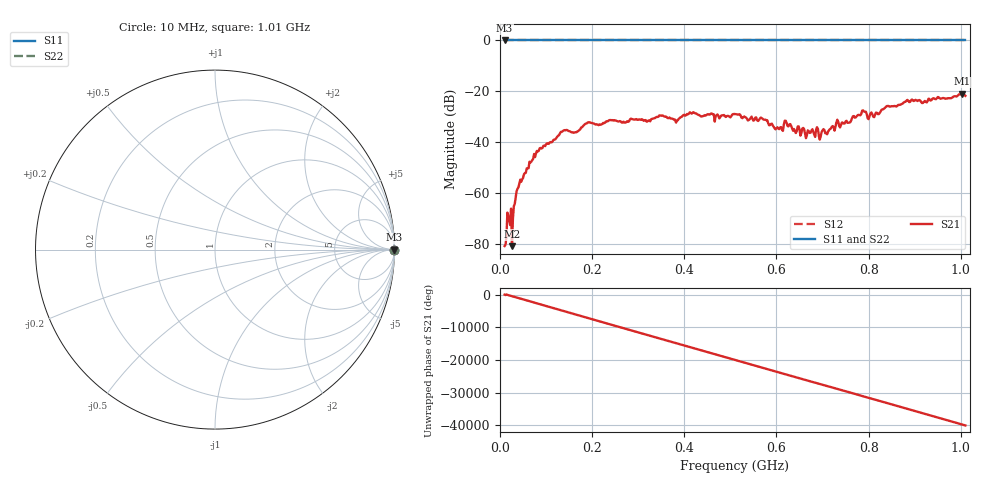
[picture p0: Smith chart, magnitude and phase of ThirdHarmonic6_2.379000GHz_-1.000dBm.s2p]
! 8/17/2025 3:46:47 AM
! C:\ANRITSUVNA\TEMP\TEMP.S2P
! CHANNEL.1
! TR.MEASUREMENT
! RAW.DATA
! RF.CORRECTION.OFF
! AVERAGING.OFF
! IF.BANDWIDTH: 5KHZ
! SWEEPTYPE:  FREQ.SWEEP(Linear)
! Reference Plane Port Info
! PORT:  PORT1  PORT2
! DISTANCE:  0  m  0  m
! TIME:  0  s  0  s
! PHASE.OFFSET:  0  deg.  0  deg.
! LOSS:  0  dB  0  dB
! REF.LOSS:  0  dB  0  dB
! REF.FREQ:  0  Hz  0  Hz
! Power Info
! POWER:  -20  dBm  -20  dBm
! EFF.POWER:  -20  dBm  -20  dBm
! SOURCE.ATTEN:  0  dB  0  dB
! TEST.ATTEN:  0  dB  0  dB
# GHZ S RI R 50.0
! FREQ.GHZ  S11RE  S11IM  S21RE  S21IM  S12RE  S12IM  S22RE  S22IM
!; PortSelection: Port_12
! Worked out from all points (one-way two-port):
!   501 points, 10 MHz to 1.01 GHz, reference 50 ohm
!   highest |S21| = -20.94 dB at 1.002 GHz (marker M1); lowest = -80.8 dB at 26 MHz (marker M2)
!   lowest |S11| = 0.0 dB at 10 MHz (marker M3)
!   |S11| at or under -10 dB: nowhere
!   |S22| runs from 0.0 to 0.0 dB; largest |S21 - S12| = 1.1
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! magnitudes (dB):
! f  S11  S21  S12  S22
! 10 MHz  0.0  -80.7  0.0  0.0
! 20 MHz  0.0  -70.7  0.0  0.0
! 22 MHz  0.0  -72.5  0.0  0.0
! 26 MHz  0.0  -80.8  0.0  0.0
! 40 MHz  0.0  -57.6  0.0  0.0
! 78 MHz  0.0  -44.4  0.0  0.0
! 136 MHz  0.0  -35.6  0.0  0.0
! 178 MHz  0.0  -34.0  0.0  0.0
! 344 MHz  0.0  -29.9  0.0  0.0
! 382 MHz  0.0  -32.2  0.0  0.0
! 510 MHz  0.0  -28.9  0.0  0.0
! 570 MHz  0.0  -30.7  0.0  0.0
! 600 MHz  0.0  -34.5  0.0  0.0
! 620 MHz  0.0  -31.5  0.0  0.0
! 640 MHz  0.0  -35.5  0.0  0.0
! 678 MHz  0.0  -34.9  0.0  0.0
! 696 MHz  0.0  -37.6  0.0  0.0
! 790 MHz  0.0  -27.9  0.0  0.0
! 800 MHz  0.0  -30.9  0.0  0.0
! 844 MHz  0.0  -25.8  0.0  0.0
! 1.002 GHz  0.0  -20.9  0.0  0.0
! 1.01 GHz  0.0  -21.7  0.0  0.0
